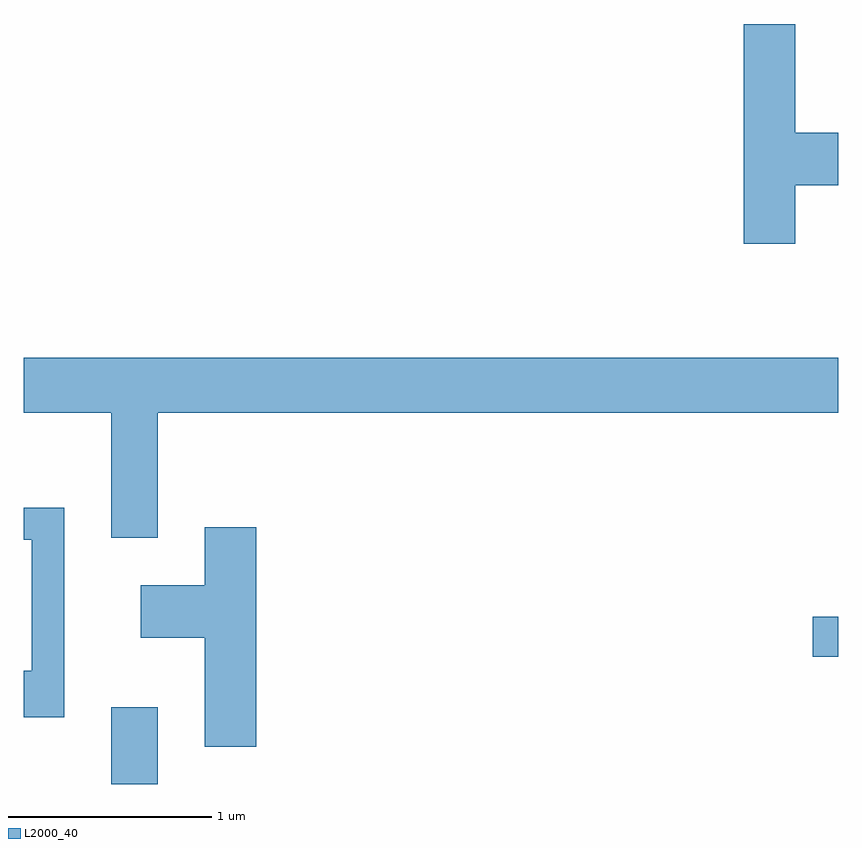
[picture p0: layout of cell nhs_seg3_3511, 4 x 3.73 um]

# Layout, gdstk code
import gdstk
lib = gdstk.Library(unit=1e-6, precision=1e-09)
def R(c, l, rs):  # rectangles x0, y0, x1, y1
    for r in rs: c.add(gdstk.rectangle(r[:2], r[2:], *l))
def P(c, l, *ps):  # polygons
    for p in ps: c.add(gdstk.Polygon(p, *l))
L2000_40 = (2000, 40)

nhs_seg3_3511 = lib.new_cell('nhs_seg3_3511')
R(nhs_seg3_3511, L2000_40, [(288.041,1201.892,288.269,1202.269), (291.486,1202.516,291.611,1202.714)])
P(nhs_seg3_3511, L2000_40, [(291.399,1204.831),(291.611,1204.831),(291.611,1205.089),(291.399,1205.089),(291.399,1205.624),(291.146,1205.624),(291.146,1204.546),(291.399,1204.546)],
  [(288.269,1203.716),(291.611,1203.716),(291.611,1203.984),(287.611,1203.984),(287.611,1203.716),(288.041,1203.716),(288.041,1203.101),(288.269,1203.101)],
  [(287.809,1203.249),(287.611,1203.249),(287.611,1203.091),(287.651,1203.091),(287.651,1202.449),(287.611,1202.449),(287.611,1202.221),(287.809,1202.221)],
  [(288.754,1203.154),(288.501,1203.154),(288.501,1202.869),(288.186,1202.869),(288.186,1202.611),(288.501,1202.611),(288.501,1202.076),(288.754,1202.076)])

lib.write_gds('nhs_seg3_3511.gds')
